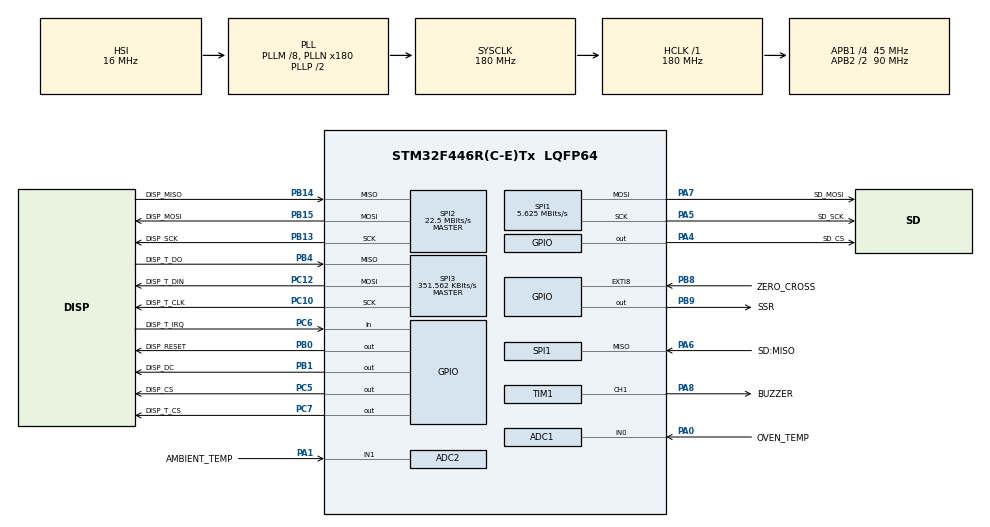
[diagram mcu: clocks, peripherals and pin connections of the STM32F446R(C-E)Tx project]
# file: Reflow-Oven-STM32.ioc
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ADC1.Channel-0\#ChannelRegularConversion=ADC_CHANNEL_0
ADC1.ClockPrescaler=ADC_CLOCK_SYNC_PCLK_DIV8
ADC1.NbrOfConversion=1
ADC1.NbrOfConversionFlag=1
ADC1.Rank-0\#ChannelRegularConversion=1
ADC1.SamplingTime-0\#ChannelRegularConversion=ADC_SAMPLETIME_3CYCLES
ADC1.ScanConvMode=DISABLE
ADC1.master=1
ADC2.Channel-0\#ChannelRegularConversion=ADC_CHANNEL_1
ADC2.ClockPrescaler=ADC_CLOCK_SYNC_PCLK_DIV8
ADC2.NbrOfConversionFlag=1
ADC2.Rank-0\#ChannelRegularConversion=1
ADC2.SamplingTime-0\#ChannelRegularConversion=ADC_SAMPLETIME_3CYCLES
FATFS._MAX_SS=4096
FATFS._USE_LFN=1
Mcu.Family=STM32F4
Mcu.Name=STM32F446R(C-E)Tx
Mcu.Package=LQFP64
NVIC.ADC_IRQn=true\:0\:0\:false\:false\:true\:true\:true\:true
NVIC.EXTI9_5_IRQn=true\:0\:0\:false\:false\:true\:true\:true\:true
NVIC.PriorityGroup=NVIC_PRIORITYGROUP_0
PA0-WKUP.GPIO_Label=OVEN_TEMP
PA0-WKUP.Signal=ADCx_IN0
PA1.GPIO_Label=AMBIENT_TEMP
PA1.Signal=ADCx_IN1
PA13.GPIO_Label=TMS
PA13.Mode=Trace_Asynchronous_SW
PA13.Signal=SYS_JTMS-SWDIO
PA14.GPIO_Label=TCK
PA14.Mode=Trace_Asynchronous_SW
PA14.Signal=SYS_JTCK-SWCLK
PA4.GPIO_Label=SD_CS
PA4.PinState=GPIO_PIN_SET
PA4.Signal=GPIO_Output
PA5.GPIO_Label=SD_SCK
PA5.Mode=Full_Duplex_Master
PA5.Signal=SPI1_SCK
PA6.GPIO_Label=SD\:MISO
PA6.Mode=Full_Duplex_Master
PA6.Signal=SPI1_MISO
PA7.GPIO_Label=SD_MOSI
PA7.Mode=Full_Duplex_Master
PA7.Signal=SPI1_MOSI
PA8.GPIO_Label=BUZZER
PA8.Signal=S_TIM1_CH1
PB0.GPIO_Label=DISP_RESET
PB0.Signal=GPIO_Output
PB1.GPIO_Label=DISP_DC
PB1.Signal=GPIO_Output
PB13.GPIO_Label=DISP_SCK
PB13.Mode=Full_Duplex_Master
PB13.Signal=SPI2_SCK
PB14.GPIO_Label=DISP_MISO
PB14.Mode=Full_Duplex_Master
PB14.Signal=SPI2_MISO
PB15.GPIO_Label=DISP_MOSI
PB15.Mode=Full_Duplex_Master
PB15.Signal=SPI2_MOSI
PB3.GPIO_Label=SWO
PB3.Mode=Trace_Asynchronous_SW
PB3.Signal=SYS_JTDO-SWO
PB4.GPIO_Label=DISP_T_DO
PB4.Mode=Full_Duplex_Master
PB4.Signal=SPI3_MISO
PB8.GPIO_Label=ZERO_CROSS
PB8.Signal=GPXTI8
PB9.GPIO_Label=SSR
PB9.Signal=GPIO_Output
PC10.GPIO_Label=DISP_T_CLK
PC10.Mode=Full_Duplex_Master
PC10.Signal=SPI3_SCK
PC12.GPIO_Label=DISP_T_DIN
PC12.Mode=Full_Duplex_Master
PC12.Signal=SPI3_MOSI
PC5.GPIO_Label=DISP_CS
PC5.Signal=GPIO_Output
PC6.GPIO_Label=DISP_T_IRQ
PC6.Signal=GPIO_Input
PC7.GPIO_Label=DISP_T_CS
PC7.Signal=GPIO_Output
ProjectManager.HeapSize=0x200
ProjectManager.StackSize=0x400
ProjectManager.TargetToolchain=STM32CubeIDE
RCC.48MHZClocksFreq_Value=84000000
RCC.AHBFreq_Value=180000000
RCC.APB1CLKDivider=RCC_HCLK_DIV4
RCC.APB1Freq_Value=45000000
RCC.APB1TimFreq_Value=90000000
RCC.APB2CLKDivider=RCC_HCLK_DIV2
RCC.APB2Freq_Value=90000000
RCC.APB2TimFreq_Value=180000000
RCC.CortexFreq_Value=180000000
RCC.FLatency-AdvancedSettings=FLASH_LATENCY_5
RCC.HCLKFreq_Value=180000000
RCC.HSE_VALUE=8000000
RCC.HSI_VALUE=16000000
RCC.PLLM=8
RCC.PLLN=180
RCC.SYSCLKFreq_VALUE=180000000
RCC.SYSCLKSource=RCC_SYSCLKSOURCE_PLLCLK
RCC.USBFreq_Value=180000000
RCC.VCOOutputFreq_Value=360000000
SH.ADCx_IN0.0=ADC1_IN0,IN0
SH.ADCx_IN1.0=ADC2_IN1,IN1
SH.S_TIM1_CH1.0=TIM1_CH1,PWM Generation1 CH1
SPI1.BaudRatePrescaler=SPI_BAUDRATEPRESCALER_16
SPI1.CalculateBaudRate=5.625 MBits/s
SPI1.Direction=SPI_DIRECTION_2LINES
SPI1.Mode=SPI_MODE_MASTER
SPI1.VirtualType=VM_MASTER
SPI2.CalculateBaudRate=22.5 MBits/s
SPI2.Direction=SPI_DIRECTION_2LINES
SPI2.Mode=SPI_MODE_MASTER
SPI2.VirtualType=VM_MASTER
SPI3.BaudRatePrescaler=SPI_BAUDRATEPRESCALER_128
SPI3.CalculateBaudRate=351.562 KBits/s
SPI3.Direction=SPI_DIRECTION_2LINES
SPI3.Mode=SPI_MODE_MASTER
SPI3.VirtualType=VM_MASTER
TIM1.Channel-PWM\ Generation1\ CH1=TIM_CHANNEL_1
TIM1.Period=208
TIM1.Prescaler=180-1
TIM1.Pulse-PWM\ Generation1\ CH1=104
VP_FATFS_VS_Generic.Mode=User_defined
VP_TIM1_VS_ClockSourceINT.Mode=Internal
board=NUCLEO-F446RE

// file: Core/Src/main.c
/* USER CODE BEGIN Header */
/**
  ******************************************************************************
  * @file           : main.c
  * @brief          : Main program body
  ******************************************************************************
  * @attention
  *
  * Copyright (c) 2024 STMicroelectronics.
  * All rights reserved.
  *
  * This software is licensed under terms that can be found in the LICENSE file
  * in the root directory of this software component.
  * If no LICENSE file comes with this software, it is provided AS-IS.
  *
  ******************************************************************************
  */
/* USER CODE END Header */
#include "main.h"
#include "fatfs.h"

/* USER CODE BEGIN Includes */
#include <stdio.h>
#include <string.h>
#include "../../Drivers/tft/ili9341.h"
#include "../../Drivers/touchpad/xpt2046.h"
#include "../../Drivers/lvgl/lvgl.h"
#include "reflow_oven_gui.h"
#include "lwjson/lwjson.h"
/* USER CODE END Includes */

/* USER CODE BEGIN PD */
//#define DEBUG_PRINT	/* Define to use SWO trace */
#define DISPLAY_WIDTH 320
#define DISPLAY_HEIGHT 240
#define WIDTH (DISPLAY_WIDTH)
#define HEIGHT (DISPLAY_HEIGHT)
#define BYTE_PER_PIXEL (LV_COLOR_FORMAT_GET_SIZE(LV_COLOR_FORMAT_RGB565)) /*will be 2 for RGB565 */
#define BUFF_SIZE (DISPLAY_WIDTH * DISPLAY_HEIGHT / 10 * BYTE_PER_PIXEL)
/* USER CODE END PD */

ADC_HandleTypeDef hadc1;
ADC_HandleTypeDef hadc2;

SPI_HandleTypeDef hspi1;
SPI_HandleTypeDef hspi2;
SPI_HandleTypeDef hspi3;

TIM_HandleTypeDef htim1;

/* USER CODE BEGIN PV */
uint32_t ambient_temp, oven_temp;	// Variables to store sensed temperatures

enum states state = IDLE;

// PID loop constants
float k_p_preheat = 0.85;		// Proportional constant
float k_i_preheat = 0.001;		// Integral constant
float k_d_preheat = 0;			// Derivative constant
float k_p_reflow = 2.25;		// Proportional constant
float k_i_reflow = 0;			// Integral constant
float k_d_reflow = 0;			// Derivative constant
uint8_t interval = 1;	// Interval in seconds
int32_t integral;		// Integral term
int32_t derivative;		// Derivative term
int16_t error_prev;		// Required to compute derivative

// System variables (All temperatures in ºC, times in seconds)
uint8_t time_counter_enable;	// Start count: 1, stop count: 0
uint16_t seconds_count;			// seconds counter, needed to control different reflow profile's phases
uint8_t zero_crossing_count;	// Zero crossings counter, needed to control oven's output
uint8_t oven_duty;				// Oven's "duty cycle": How many cycles will oven's element be enabled. Value between 0 and 100
char profile_names[5][20];			// Profile names array
uint8_t preheat_setpoints[5];		// Set point temperature array for soak phase
uint16_t reflow_setpoints[5];	// Set point temperature array for reflow phase
uint16_t preheat_durations[5];		// Soak phase duration array
uint16_t reflow_durations[5];	// Reflow phase duration array
uint8_t profile_number;			// Reflow profile index
uint8_t total_profiles;			// Holds the total of profiles decoded in JSON

// Buffers for LVGL
static uint8_t buf_1[BUFF_SIZE];
static uint8_t buf_2[BUFF_SIZE];

// Extern LVGL objects
extern lv_obj_t* profile_label;
extern lv_obj_t* phase_label;
extern lv_obj_t* temp_label;
extern lv_obj_t* time_label;

// SD CARD related variable

FATFS fs;
FATFS *pfs;
FIL fil;
FRESULT fres;
DWORD fre_clust;
uint32_t totalSpace, freeSpace;
char buffer[500];

// LwJSON instance and tokens
static lwjson_token_t tokens[20];
static lwjson_t lwjson;
/* USER CODE END PV */

void SystemClock_Config(void);
static void MX_GPIO_Init(void);
static void MX_ADC1_Init(void);
static void MX_ADC2_Init(void);
static void MX_SPI2_Init(void);
static void MX_SPI3_Init(void);
static void MX_TIM1_Init(void);
static void MX_SPI1_Init(void);
/* USER CODE BEGIN PFP */
uint8_t PID_Loop(uint16_t setpoint, float k_p, float k_i, float k_d);
void RGB_LED_Color(uint8_t color);
void control_oven(int8_t oven_duty_cycle);
void oven_task(uint16_t setpoint);
void my_flush_cb(lv_display_t * display, const lv_area_t * area, uint8_t * px_map);
void my_touchpad_read(lv_indev_t * indev_drv, lv_indev_data_t * data);
void json_get_tokens(char *buf);
void print_child_tokens(lwjson_token_t* t, int indent_depth);
/* USER CODE END PFP */

int main(void)
{

  /* MCU Configuration--------------------------------------------------------*/

  /* Reset of all peripherals, Initializes the Flash interface and the Systick. */
  HAL_Init();

  /* Configure the system clock */
  SystemClock_Config();

  /* Initialize all configured peripherals */
  MX_GPIO_Init();
  MX_ADC1_Init();
  MX_ADC2_Init();
  MX_SPI2_Init();
  MX_SPI3_Init();
  MX_TIM1_Init();
  MX_SPI1_Init();
  MX_FATFS_Init();
  /* USER CODE BEGIN 2 */
  /* Wait for SD module reset */
    	HAL_Delay(500);

  	if(f_mount(&fs, "", 0) != FR_OK)
  		Error_Handler();

  	/* Open file to read */
  	if(f_open(&fil, "profiles.json", FA_READ) != FR_OK)
  		Error_Handler();

  	f_read(&fil, buffer, sizeof(buffer), NULL);

  	/* Close file */
  	if(f_close(&fil) != FR_OK)
  		Error_Handler();

  	/* Unmount SDCARD */
  	if(f_mount(NULL, "", 1) != FR_OK)
  		Error_Handler();

  	json_get_tokens(buffer);

  // Initialize ILI9341 driver
  ILI9341_Init();
  ILI9341_Set_Rotation(SCREEN_HORIZONTAL_2);

  //Initialise LVGL UI library
  lv_init();

  lv_display_t * disp = lv_display_create(HEIGHT, WIDTH); /*Basic initialization with horizontal and vertical resolution in pixels*/
  lv_display_set_flush_cb(disp, my_flush_cb); /*Set a flush callback to draw to the display*/
  lv_display_set_buffers(disp, buf_1, buf_2, sizeof(buf_1), LV_DISPLAY_RENDER_MODE_PARTIAL); /*Set an initialized buffer*/

  lv_display_set_rotation(disp, LV_DISPLAY_ROTATION_90);

  lv_indev_t * indev = lv_indev_create();           /*Create an input device*/
  lv_indev_set_type(indev, LV_INDEV_TYPE_POINTER);  /*Touch pad is a pointer-like device*/
  lv_indev_set_read_cb(indev, my_touchpad_read);    /*Set your driver function*/

  reflow_oven_ui();
  /* USER CODE END 2 */

  /* Infinite loop */
  /* USER CODE BEGIN WHILE */
  while (1)
  {
	  lv_timer_handler();

	  // State machine
	  switch(state)
	  {
	  case IDLE:
		  lv_label_set_text(phase_label, "Phase: IDLE");
		  HAL_GPIO_WritePin(SSR_GPIO_Port, SSR_Pin, GPIO_PIN_RESET);	// Turn off SSR
		  seconds_count = 0;
		  integral = 0;
		  oven_task(0);
		  break;
	  case PREHEAT:
		  lv_label_set_text(phase_label, "Phase: PREHEAT");
		  time_counter_enable = 1;
		  oven_task(preheat_setpoints[profile_number]);
		  if (seconds_count > preheat_durations[profile_number])
			  state++;
		  break;
	  case REFLOW:
		  lv_label_set_text(phase_label, "Phase: REFLOW");
		  oven_task(reflow_setpoints[profile_number]);
		  if (seconds_count > preheat_durations[profile_number] + reflow_durations[profile_number])
		  {
			  // Beep sound for 1 sec
			  HAL_TIM_PWM_Start(&htim1, TIM_CHANNEL_1);
			  lv_delay_ms(1000);
			  HAL_TIM_PWM_Stop(&htim1, TIM_CHANNEL_1);
			  state++;
		  }
		  break;
	  case COOLDOWN:
		  lv_label_set_text(phase_label, "Phase: COOLDOWN");
		  if (oven_temp <= 50 || seconds_count >= 480)
		  {
			  state = IDLE;
			  time_counter_enable = 0;
		  }
		  oven_task(0);
		  break;
	  }

    /* USER CODE END WHILE */

  }
}

void SystemClock_Config(void)
{
  RCC_OscInitTypeDef RCC_OscInitStruct = {0};
  RCC_ClkInitTypeDef RCC_ClkInitStruct = {0};

  /** Configure the main internal regulator output voltage
  */
  __HAL_RCC_PWR_CLK_ENABLE();
  __HAL_PWR_VOLTAGESCALING_CONFIG(PWR_REGULATOR_VOLTAGE_SCALE1);

  /** Initializes the RCC Oscillators according to the specified parameters
  * in the RCC_OscInitTypeDef structure.
  */
  RCC_OscInitStruct.OscillatorType = RCC_OSCILLATORTYPE_HSI;
  RCC_OscInitStruct.HSIState = RCC_HSI_ON;
  RCC_OscInitStruct.HSICalibrationValue = RCC_HSICALIBRATION_DEFAULT;
  RCC_OscInitStruct.PLL.PLLState = RCC_PLL_ON;
  RCC_OscInitStruct.PLL.PLLSource = RCC_PLLSOURCE_HSI;
  RCC_OscInitStruct.PLL.PLLM = 8;
  RCC_OscInitStruct.PLL.PLLN = 180;
  RCC_OscInitStruct.PLL.PLLP = RCC_PLLP_DIV2;
  RCC_OscInitStruct.PLL.PLLQ = 2;
  RCC_OscInitStruct.PLL.PLLR = 2;
  if (HAL_RCC_OscConfig(&RCC_OscInitStruct) != HAL_OK)
  {
    Error_Handler();
  }

  /** Activate the Over-Drive mode
  */
  if (HAL_PWREx_EnableOverDrive() != HAL_OK)
  {
    Error_Handler();
  }

  /** Initializes the CPU, AHB and APB buses clocks
  */
  RCC_ClkInitStruct.ClockType = RCC_CLOCKTYPE_HCLK|RCC_CLOCKTYPE_SYSCLK
                              |RCC_CLOCKTYPE_PCLK1|RCC_CLOCKTYPE_PCLK2;
  RCC_ClkInitStruct.SYSCLKSource = RCC_SYSCLKSOURCE_PLLCLK;
  RCC_ClkInitStruct.AHBCLKDivider = RCC_SYSCLK_DIV1;
  RCC_ClkInitStruct.APB1CLKDivider = RCC_HCLK_DIV4;
  RCC_ClkInitStruct.APB2CLKDivider = RCC_HCLK_DIV2;

  if (HAL_RCC_ClockConfig(&RCC_ClkInitStruct, FLASH_LATENCY_5) != HAL_OK)
  {
    Error_Handler();
  }
}

static void MX_ADC1_Init(void)
{

  ADC_ChannelConfTypeDef sConfig = {0};

  /** Configure the global features of the ADC (Clock, Resolution, Data Alignment and number of conversion)
  */
  hadc1.Instance = ADC1;
  hadc1.Init.ClockPrescaler = ADC_CLOCK_SYNC_PCLK_DIV8;
  hadc1.Init.Resolution = ADC_RESOLUTION_12B;
  hadc1.Init.ScanConvMode = DISABLE;
  hadc1.Init.ContinuousConvMode = DISABLE;
  hadc1.Init.DiscontinuousConvMode = DISABLE;
  hadc1.Init.ExternalTrigConvEdge = ADC_EXTERNALTRIGCONVEDGE_NONE;
  hadc1.Init.ExternalTrigConv = ADC_SOFTWARE_START;
  hadc1.Init.DataAlign = ADC_DATAALIGN_RIGHT;
  hadc1.Init.NbrOfConversion = 1;
  hadc1.Init.DMAContinuousRequests = DISABLE;
  hadc1.Init.EOCSelection = ADC_EOC_SINGLE_CONV;
  if (HAL_ADC_Init(&hadc1) != HAL_OK)
  {
    Error_Handler();
  }

  /** Configure for the selected ADC regular channel its corresponding rank in the sequencer and its sample time.
  */
  sConfig.Channel = ADC_CHANNEL_0;
  sConfig.Rank = 1;
  sConfig.SamplingTime = ADC_SAMPLETIME_3CYCLES;
  if (HAL_ADC_ConfigChannel(&hadc1, &sConfig) != HAL_OK)
  {
    Error_Handler();
  }

}

static void MX_ADC2_Init(void)
{

  ADC_ChannelConfTypeDef sConfig = {0};

  /** Configure the global features of the ADC (Clock, Resolution, Data Alignment and number of conversion)
  */
  hadc2.Instance = ADC2;
  hadc2.Init.ClockPrescaler = ADC_CLOCK_SYNC_PCLK_DIV8;
  hadc2.Init.Resolution = ADC_RESOLUTION_12B;
  hadc2.Init.ScanConvMode = DISABLE;
  hadc2.Init.ContinuousConvMode = DISABLE;
  hadc2.Init.DiscontinuousConvMode = DISABLE;
  hadc2.Init.ExternalTrigConvEdge = ADC_EXTERNALTRIGCONVEDGE_NONE;
  hadc2.Init.ExternalTrigConv = ADC_SOFTWARE_START;
  hadc2.Init.DataAlign = ADC_DATAALIGN_RIGHT;
  hadc2.Init.NbrOfConversion = 1;
  hadc2.Init.DMAContinuousRequests = DISABLE;
  hadc2.Init.EOCSelection = ADC_EOC_SINGLE_CONV;
  if (HAL_ADC_Init(&hadc2) != HAL_OK)
  {
    Error_Handler();
  }

  /** Configure for the selected ADC regular channel its corresponding rank in the sequencer and its sample time.
  */
  sConfig.Channel = ADC_CHANNEL_1;
  sConfig.Rank = 1;
  sConfig.SamplingTime = ADC_SAMPLETIME_3CYCLES;
  if (HAL_ADC_ConfigChannel(&hadc2, &sConfig) != HAL_OK)
  {
    Error_Handler();
  }

}

static void MX_SPI1_Init(void)
{

  /* SPI1 parameter configuration*/
  hspi1.Instance = SPI1;
  hspi1.Init.Mode = SPI_MODE_MASTER;
  hspi1.Init.Direction = SPI_DIRECTION_2LINES;
  hspi1.Init.DataSize = SPI_DATASIZE_8BIT;
  hspi1.Init.CLKPolarity = SPI_POLARITY_LOW;
  hspi1.Init.CLKPhase = SPI_PHASE_1EDGE;
  hspi1.Init.NSS = SPI_NSS_SOFT;
  hspi1.Init.BaudRatePrescaler = SPI_BAUDRATEPRESCALER_16;
  hspi1.Init.FirstBit = SPI_FIRSTBIT_MSB;
  hspi1.Init.TIMode = SPI_TIMODE_DISABLE;
  hspi1.Init.CRCCalculation = SPI_CRCCALCULATION_DISABLE;
  hspi1.Init.CRCPolynomial = 10;
  if (HAL_SPI_Init(&hspi1) != HAL_OK)
  {
    Error_Handler();
  }

}

static void MX_SPI2_Init(void)
{

  /* SPI2 parameter configuration*/
  hspi2.Instance = SPI2;
  hspi2.Init.Mode = SPI_MODE_MASTER;
  hspi2.Init.Direction = SPI_DIRECTION_2LINES;
  hspi2.Init.DataSize = SPI_DATASIZE_8BIT;
  hspi2.Init.CLKPolarity = SPI_POLARITY_LOW;
  hspi2.Init.CLKPhase = SPI_PHASE_1EDGE;
  hspi2.Init.NSS = SPI_NSS_SOFT;
  hspi2.Init.BaudRatePrescaler = SPI_BAUDRATEPRESCALER_2;
  hspi2.Init.FirstBit = SPI_FIRSTBIT_MSB;
  hspi2.Init.TIMode = SPI_TIMODE_DISABLE;
  hspi2.Init.CRCCalculation = SPI_CRCCALCULATION_DISABLE;
  hspi2.Init.CRCPolynomial = 10;
  if (HAL_SPI_Init(&hspi2) != HAL_OK)
  {
    Error_Handler();
  }

}

static void MX_SPI3_Init(void)
{

  /* SPI3 parameter configuration*/
  hspi3.Instance = SPI3;
  hspi3.Init.Mode = SPI_MODE_MASTER;
  hspi3.Init.Direction = SPI_DIRECTION_2LINES;
  hspi3.Init.DataSize = SPI_DATASIZE_8BIT;
  hspi3.Init.CLKPolarity = SPI_POLARITY_LOW;
  hspi3.Init.CLKPhase = SPI_PHASE_1EDGE;
  hspi3.Init.NSS = SPI_NSS_SOFT;
  hspi3.Init.BaudRatePrescaler = SPI_BAUDRATEPRESCALER_128;
  hspi3.Init.FirstBit = SPI_FIRSTBIT_MSB;
  hspi3.Init.TIMode = SPI_TIMODE_DISABLE;
  hspi3.Init.CRCCalculation = SPI_CRCCALCULATION_DISABLE;
  hspi3.Init.CRCPolynomial = 10;
  if (HAL_SPI_Init(&hspi3) != HAL_OK)
  {
    Error_Handler();
  }

}

static void MX_TIM1_Init(void)
{

  TIM_ClockConfigTypeDef sClockSourceConfig = {0};
  TIM_MasterConfigTypeDef sMasterConfig = {0};
  TIM_OC_InitTypeDef sConfigOC = {0};
  TIM_BreakDeadTimeConfigTypeDef sBreakDeadTimeConfig = {0};

  htim1.Instance = TIM1;
  htim1.Init.Prescaler = 180-1;
  htim1.Init.CounterMode = TIM_COUNTERMODE_UP;
  htim1.Init.Period = 208;
  htim1.Init.ClockDivision = TIM_CLOCKDIVISION_DIV1;
  htim1.Init.RepetitionCounter = 0;
  htim1.Init.AutoReloadPreload = TIM_AUTORELOAD_PRELOAD_DISABLE;
  if (HAL_TIM_Base_Init(&htim1) != HAL_OK)
  {
    Error_Handler();
  }
  sClockSourceConfig.ClockSource = TIM_CLOCKSOURCE_INTERNAL;
  if (HAL_TIM_ConfigClockSource(&htim1, &sClockSourceConfig) != HAL_OK)
  {
    Error_Handler();
  }
  if (HAL_TIM_PWM_Init(&htim1) != HAL_OK)
  {
    Error_Handler();
  }
  sMasterConfig.MasterOutputTrigger = TIM_TRGO_RESET;
  sMasterConfig.MasterSlaveMode = TIM_MASTERSLAVEMODE_DISABLE;
  if (HAL_TIMEx_MasterConfigSynchronization(&htim1, &sMasterConfig) != HAL_OK)
  {
    Error_Handler();
  }
  sConfigOC.OCMode = TIM_OCMODE_PWM1;
  sConfigOC.Pulse = 104;
  sConfigOC.OCPolarity = TIM_OCPOLARITY_HIGH;
  sConfigOC.OCNPolarity = TIM_OCNPOLARITY_HIGH;
  sConfigOC.OCFastMode = TIM_OCFAST_DISABLE;
  sConfigOC.OCIdleState = TIM_OCIDLESTATE_RESET;
  sConfigOC.OCNIdleState = TIM_OCNIDLESTATE_RESET;
  if (HAL_TIM_PWM_ConfigChannel(&htim1, &sConfigOC, TIM_CHANNEL_1) != HAL_OK)
  {
    Error_Handler();
  }
  sBreakDeadTimeConfig.OffStateRunMode = TIM_OSSR_DISABLE;
  sBreakDeadTimeConfig.OffStateIDLEMode = TIM_OSSI_DISABLE;
  sBreakDeadTimeConfig.LockLevel = TIM_LOCKLEVEL_OFF;
  sBreakDeadTimeConfig.DeadTime = 0;
  sBreakDeadTimeConfig.BreakState = TIM_BREAK_DISABLE;
  sBreakDeadTimeConfig.BreakPolarity = TIM_BREAKPOLARITY_HIGH;
  sBreakDeadTimeConfig.AutomaticOutput = TIM_AUTOMATICOUTPUT_DISABLE;
  if (HAL_TIMEx_ConfigBreakDeadTime(&htim1, &sBreakDeadTimeConfig) != HAL_OK)
  {
    Error_Handler();
  }
  HAL_TIM_MspPostInit(&htim1);

}

static void MX_GPIO_Init(void)
{
  GPIO_InitTypeDef GPIO_InitStruct = {0};

  /* GPIO Ports Clock Enable */
  __HAL_RCC_GPIOA_CLK_ENABLE();
  __HAL_RCC_GPIOC_CLK_ENABLE();
  __HAL_RCC_GPIOB_CLK_ENABLE();

  /*Configure GPIO pin Output Level */
  HAL_GPIO_WritePin(SD_CS_GPIO_Port, SD_CS_Pin, GPIO_PIN_SET);

  /*Configure GPIO pin Output Level */
  HAL_GPIO_WritePin(GPIOC, DISP_CS_Pin|DISP_T_CS_Pin, GPIO_PIN_RESET);

  /*Configure GPIO pin Output Level */
  HAL_GPIO_WritePin(GPIOB, DISP_RESET_Pin|DISP_DC_Pin|SSR_Pin, GPIO_PIN_RESET);

  /*Configure GPIO pin : SD_CS_Pin */
  GPIO_InitStruct.Pin = SD_CS_Pin;
  GPIO_InitStruct.Mode = GPIO_MODE_OUTPUT_PP;
  GPIO_InitStruct.Pull = GPIO_NOPULL;
  GPIO_InitStruct.Speed = GPIO_SPEED_FREQ_LOW;
  HAL_GPIO_Init(SD_CS_GPIO_Port, &GPIO_InitStruct);

  /*Configure GPIO pins : DISP_CS_Pin DISP_T_CS_Pin */
  GPIO_InitStruct.Pin = DISP_CS_Pin|DISP_T_CS_Pin;
  GPIO_InitStruct.Mode = GPIO_MODE_OUTPUT_PP;
  GPIO_InitStruct.Pull = GPIO_NOPULL;
  GPIO_InitStruct.Speed = GPIO_SPEED_FREQ_LOW;
  HAL_GPIO_Init(GPIOC, &GPIO_InitStruct);

  /*Configure GPIO pins : DISP_RESET_Pin DISP_DC_Pin SSR_Pin */
  GPIO_InitStruct.Pin = DISP_RESET_Pin|DISP_DC_Pin|SSR_Pin;
  GPIO_InitStruct.Mode = GPIO_MODE_OUTPUT_PP;
  GPIO_InitStruct.Pull = GPIO_NOPULL;
  GPIO_InitStruct.Speed = GPIO_SPEED_FREQ_LOW;
  HAL_GPIO_Init(GPIOB, &GPIO_InitStruct);

  /*Configure GPIO pin : DISP_T_IRQ_Pin */
  GPIO_InitStruct.Pin = DISP_T_IRQ_Pin;
  GPIO_InitStruct.Mode = GPIO_MODE_INPUT;
  GPIO_InitStruct.Pull = GPIO_NOPULL;
  HAL_GPIO_Init(DISP_T_IRQ_GPIO_Port, &GPIO_InitStruct);

  /*Configure GPIO pin : ZERO_CROSS_Pin */
  GPIO_InitStruct.Pin = ZERO_CROSS_Pin;
  GPIO_InitStruct.Mode = GPIO_MODE_IT_RISING;
  GPIO_InitStruct.Pull = GPIO_NOPULL;
  HAL_GPIO_Init(ZERO_CROSS_GPIO_Port, &GPIO_InitStruct);

  /* EXTI interrupt init*/
  HAL_NVIC_SetPriority(EXTI9_5_IRQn, 0, 0);
  HAL_NVIC_EnableIRQ(EXTI9_5_IRQn);

}

/* USER CODE BEGIN 4 */
#ifdef DEBUG_PRINT
// To get printf() on SWO
int _write(int file, char *ptr, int len)
{
  (void)file;
  int DataIdx;

  for (DataIdx = 0; DataIdx < len; DataIdx++)
  {
	  ITM_SendChar(*ptr++);
  }
  return len;
}
#endif

uint8_t decode_profiles_json(lwjson_token_t* t)
{
	lwjson_token_t* profiles_tkn;	// Token variable to handle each profile in the JSON array
	lwjson_token_t* preheat_tkn;	// Token variable to handle preheat's object elements
	lwjson_token_t* reflow_tkn;		// Token variable to handle reflow's object elements
	int profile_index = 0;			// JSON file holds an array of profiles, this index keeps track of each profile
	for (const lwjson_token_t* tkn = lwjson_get_first_child(t); tkn != NULL; tkn = tkn->next) {

		// Token "profile_name"
		profiles_tkn = lwjson_get_first_child(tkn);
		strncpy(profile_names[profile_index], profiles_tkn->u.str.token_value, profiles_tkn->u.str.token_value_len);

		// Token "preheat_stage"
		profiles_tkn = profiles_tkn->next;

		// This is an object, so get its children
		// Token "preheat_duration"
		preheat_tkn = lwjson_get_first_child(profiles_tkn);
		preheat_durations[profile_index] = preheat_tkn->u.num_int;

		// Token "preheat_setpoint"
		preheat_tkn = preheat_tkn->next;
		preheat_setpoints[profile_index] = preheat_tkn->u.num_int;

		// Token "reflow_stage"
		profiles_tkn = profiles_tkn->next;

		// This is an object, so get its children
		// Token "reflow_duration"
		reflow_tkn = lwjson_get_first_child(profiles_tkn);
		reflow_durations[profile_index] = reflow_tkn->u.num_int;

		// Token "reflow_setpoint"
		reflow_tkn = reflow_tkn->next;
		reflow_setpoints[profile_index] = reflow_tkn->u.num_int;

		profile_index++;	// Increase index so next iteration of the for loop decodes the next profile in the array
	}

	return profile_index;	// Return the number of reflow profiles decoded from JSON
}

void print_child_tokens(lwjson_token_t* t, int indent_depth)
{
    /* Now print all keys in the object */
    for (const lwjson_token_t* tkn = lwjson_get_first_child(t); tkn != NULL; tkn = tkn->next) {
    	for (int i = 0; i < indent_depth; i++)
    		printf("\t");
        printf("Token: %.*s,", (int)tkn->token_name_len, tkn->token_name);
        if (tkn->type == LWJSON_TYPE_NUM_INT){
        	int temp = (int)tkn->u.num_int;	// Collect token value in int format
        	printf(" Value: %d\n", temp);
        }
        else if (tkn->type == LWJSON_TYPE_STRING){
        	const char* str_val;
        	str_val = tkn->u.str.token_value; // Collect token value in string format
        	printf(" Value: %.*s\n", tkn->u.str.token_value_len, str_val);
        }
        else if (tkn->type == LWJSON_TYPE_ARRAY || tkn->type == LWJSON_TYPE_OBJECT) {
            printf(" token is array or object, printing children:\n");
            //print child tokens recursively
            print_child_tokens(tkn, (indent_depth + 1));
        }
    }
}

void json_get_tokens(char *buf) {
    /* Initialize and pass statically allocated tokens */
    lwjson_init(&lwjson, tokens, LWJSON_ARRAYSIZE(tokens));

    /* Try to parse input string */
    if (lwjson_parse(&lwjson, buf) == lwjsonOK) {
        lwjson_token_t* t;
        printf("JSON parsed..\r\n");

        /* Get very first token as top object */
        t = lwjson_get_first_token(&lwjson);
        if (t->type == LWJSON_TYPE_ARRAY) {
            printf("JSON starts with array..\n");
        } else if (t->type == LWJSON_TYPE_OBJECT) {
            printf("JSON starts with object..\n");
        } else {
            printf("This should never happen..\n");
        }

        //print_child_tokens(t, 0);
        total_profiles = decode_profiles_json(lwjson_get_first_child(t));

        /* Call this when not used anymore */
        lwjson_free(&lwjson);
    }
}

uint8_t PID_Loop(uint16_t setpoint, float k_p, float k_i, float k_d)
{
	int16_t error, output;

	// Calculate the PID terms
	error = setpoint - oven_temp;
	integral = integral + (error * interval);
	derivative = (error - error_prev) / interval;

	output = (k_p * error) + (k_i * integral) + (k_d * derivative);

	//printf("temp: %lu	error: %d	integral: %ld, deritavtive: %ld ", oven_temp, error, integral, derivative);

	if (output > 100)
		output = 100;
	else if (output < 0)
		output = 0;
	//printf("output: %d\n", output);

	// Save value for next iteration
	error_prev = error;

	return (uint8_t)output;
}

void control_oven(int8_t oven_duty_cycle)
{
	if (oven_duty_cycle > 0)
	{
		HAL_GPIO_WritePin(SSR_GPIO_Port, SSR_Pin, GPIO_PIN_SET);	// Turn on SSR
	}
	else
	{
		HAL_GPIO_WritePin(SSR_GPIO_Port, SSR_Pin, GPIO_PIN_RESET);	// Turn off SSR
	}
	oven_duty = oven_duty_cycle;
}

void HAL_ADC_ConvCpltCallback(ADC_HandleTypeDef *hadc)
{
	if (hadc->Instance == ADC1)
	{
		// Thermocouple Measurement complete
		oven_temp = (0.069*HAL_ADC_GetValue(hadc) - 5.168) + ambient_temp;

#ifdef DEBUG_PRINT
		printf("Oven Temp ADC Val: %lu C\n", HAL_ADC_GetValue(hadc));
#endif
	}
	else if (hadc->Instance == ADC2)
	{
		// Thermistor Measurement complete
		ambient_temp = (0.017*HAL_ADC_GetValue(hadc) - 15.057);
	}
}

void oven_task(uint16_t setpoint)
{
	  lv_label_set_text_fmt(profile_label, "Profile: %s", profile_names[profile_number]);
	  if (zero_crossing_count >= oven_duty)
	  {
		  HAL_GPIO_WritePin(SSR_GPIO_Port, SSR_Pin, GPIO_PIN_RESET);	// Turn off SSR
	  }

	  if (zero_crossing_count >= 99)
	  {
		  zero_crossing_count = 0;	// Reset counter
		  if(time_counter_enable)
		  {
			  seconds_count++;		// Increase seconds counter
			  lv_label_set_text_fmt(time_label, "%d s", seconds_count);
		  }
		  HAL_ADC_Start_IT(&hadc2); // Start a conversion on ADC1 (Thermistor)
		  HAL_ADC_Start_IT(&hadc1); // Start a conversion on ADC2 (Thermocouple)

		  if (state != IDLE)
			  update_chart(seconds_count, oven_temp);

		  lv_label_set_text_fmt(temp_label, "%lu C", oven_temp);

#ifdef DEBUG_PRINT
		  printf("%lu\n", oven_temp);
#endif

		  if (setpoint > 0)
		  {
			  if (state == PREHEAT)
				  control_oven(PID_Loop(setpoint, k_p_preheat, k_i_preheat, k_d_preheat)); // Regulate Oven's output

			  else
				  control_oven(PID_Loop(setpoint, k_p_reflow, k_i_reflow, k_d_reflow)); // Regulate Oven's output
		  }

		  else
		  {
			  control_oven(0);
		  }
	  }
}

void my_flush_cb(lv_display_t * display, const lv_area_t * area, uint8_t * px_map)
{
    /*The most simple case (but also the slowest) to put all pixels to the screen one-by-one
     *`put_px` is just an example, it needs to be implemented by you.*/
    uint16_t * buf16 = (uint16_t *)px_map; /*Let's say it's a 16 bit (RGB565) display*/
    uint16_t width = (area->x2 - area->x1) + 1;
    uint16_t height = (area->y2 - area->y1) + 1;
    ILI9341_Draw_Bitmap(area->x1, area->y1, width, height, buf16);

    /* IMPORTANT!!!
     * Inform LVGL that you are ready with the flushing and buf is not used anymore*/
    lv_display_flush_ready(display);
}

void my_touchpad_read(lv_indev_t * indev_drv, lv_indev_data_t * data)
{
    /*`touchpad_is_pressed` and `touchpad_get_xy` needs to be implemented by you*/
    if(XPT2046_TouchPressed()) {
      data->state = LV_INDEV_STATE_PRESSED;
      XPT2046_TouchGetCoordinates((uint16_t*)&data->point.x, (uint16_t*)&data->point.y);
    } else {
      data->state = LV_INDEV_STATE_RELEASED;
    }
}

void HAL_GPIO_EXTI_Callback(uint16_t GPIO_Pin)
{
	// Zero cross detection interrupt
	if (GPIO_Pin == ZERO_CROSS_Pin)
	{
		zero_crossing_count++;
	}
}
/* USER CODE END 4 */

void Error_Handler(void)
{
  __disable_irq();
  while (1)
  {
  }
}
